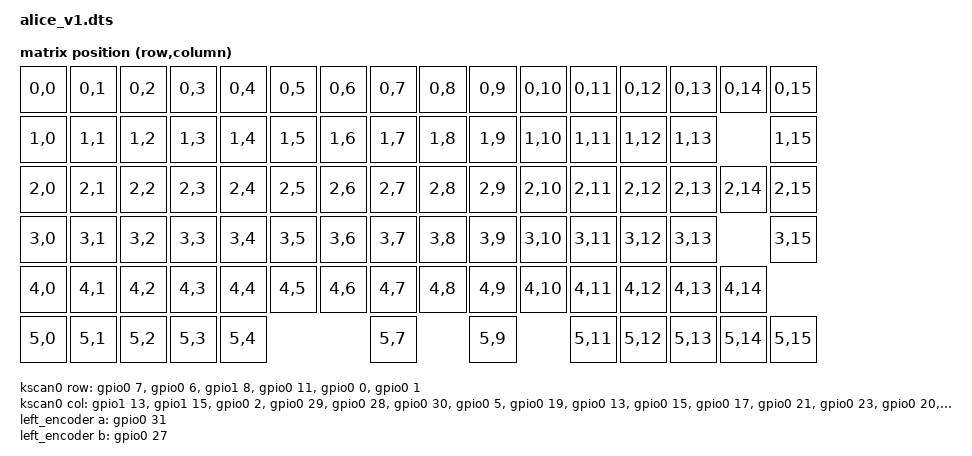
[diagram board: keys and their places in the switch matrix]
/*
* Copyright (c) 2021 The ZMK Contributors
*
* SPDX-License-Identifier: MIT
*/

/dts-v1/;
#include <nordic/nrf52840_qiaa.dtsi>
#include "alice.dtsi"
#include <dt-bindings/led/led.h> 
#include <dt-bindings/zmk/matrix_transform.h>

/ {
	chosen {
		zmk,kscan = &kscan0;
		zmk,matrix_transform = &default_transform;
		zmk,underglow = &led_strip;
		zmk,battery = &vbatt;
	};
	sensors {
		compatible = "zmk,keymap-sensors";
		sensors = <&left_encoder>;
	};

	default_transform: keymap_transform_0 {
		compatible = "zmk,matrix-transform";
		columns = <16>;
		rows = <6>;
		map = <
			RC(0,0) RC(0,1) RC(0,2) RC(0,3) RC(0,4) RC(0,5) RC(0,6) RC(0,7) RC(0,8) RC(0,9) RC(0,10) RC(0,11) RC(0,12) RC(0,13) RC(0,14) RC(0,15)    
			RC(1,0) RC(1,1) RC(1,2) RC(1,3) RC(1,4) RC(1,5) RC(1,6) RC(1,7) RC(1,8) RC(1,9) RC(1,10) RC(1,11) RC(1,12) RC(1,13)          RC(1,15)
			RC(2,0) RC(2,1) RC(2,2) RC(2,3) RC(2,4) RC(2,5) RC(2,6) RC(2,7) RC(2,8) RC(2,9) RC(2,10) RC(2,11) RC(2,12) RC(2,13) RC(2,14) RC(2,15)
			RC(3,0) RC(3,1) RC(3,2) RC(3,3) RC(3,4) RC(3,5) RC(3,6) RC(3,7) RC(3,8) RC(3,9) RC(3,10) RC(3,11) RC(3,12) RC(3,13)          RC(3,15)
			RC(4,0) RC(4,1) RC(4,2) RC(4,3) RC(4,4) RC(4,5) RC(4,6) RC(4,7) RC(4,8) RC(4,9) RC(4,10) RC(4,11) RC(4,12) RC(4,13) RC(4,14) 
			RC(5,0) RC(5,1) RC(5,2) RC(5,3) RC(5,4)                 RC(5,7)         RC(5,9)          RC(5,11) RC(5,12) RC(5,13) RC(5,14) RC(5,15) 
			  
		>;
	};
	kscan0: kscan_0 {
		compatible = "zmk,kscan-gpio-matrix";
		label = "KSCAN";
		diode-direction = "col2row";

		col-gpios
			= <&gpio1 13 GPIO_ACTIVE_HIGH>     //1
			, <&gpio1 15 GPIO_ACTIVE_HIGH>     //2
			, <&gpio0 2 GPIO_ACTIVE_HIGH>      //3
			, <&gpio0 29 GPIO_ACTIVE_HIGH>     //4
			, <&gpio0 28 GPIO_ACTIVE_HIGH>     //5
			, <&gpio0 30 GPIO_ACTIVE_HIGH>     //6
			, <&gpio0 5 GPIO_ACTIVE_HIGH>      //7
			, <&gpio0 19 GPIO_ACTIVE_HIGH>     //8
			, <&gpio0 13 GPIO_ACTIVE_HIGH>     //9
			, <&gpio0 15 GPIO_ACTIVE_HIGH>     //10
			, <&gpio0 17 GPIO_ACTIVE_HIGH>     //11
			, <&gpio0 21 GPIO_ACTIVE_HIGH>     //12
			, <&gpio0 23 GPIO_ACTIVE_HIGH>     //13
			, <&gpio0 20 GPIO_ACTIVE_HIGH>     //14
			, <&gpio0 22 GPIO_ACTIVE_HIGH>     //15
			, <&gpio0 24 GPIO_ACTIVE_HIGH>     //16
			;

		row-gpios
			= <&gpio0 7 (GPIO_ACTIVE_HIGH | GPIO_PULL_DOWN)>
			, <&gpio0 6 (GPIO_ACTIVE_HIGH | GPIO_PULL_DOWN)>
			, <&gpio1 8 (GPIO_ACTIVE_HIGH | GPIO_PULL_DOWN)>
			, <&gpio0 11 (GPIO_ACTIVE_HIGH | GPIO_PULL_DOWN)>
			, <&gpio0 0 (GPIO_ACTIVE_HIGH | GPIO_PULL_DOWN)>
			, <&gpio0 1 (GPIO_ACTIVE_HIGH | GPIO_PULL_DOWN)>
			;
	};
	
	vbatt: vbatt {
		compatible = "zmk,battery-voltage-divider";
		label = "BATTERY";
		io-channels = <&adc 1>;
		output-ohms = <10000000>;
		full-ohms = <(10000000 + 4000000)>;
	};
	left_encoder: encoder_left {
        compatible = "alps,ec11";
        label = "LEFT_ENCODER";
        a-gpios = <&gpio0 31 (GPIO_ACTIVE_HIGH | GPIO_PULL_UP)>;
        b-gpios = <&gpio0 27  (GPIO_ACTIVE_HIGH | GPIO_PULL_UP)>;
        resolution = <2>;
		status = "okay";
    };
};
&pinctrl {
    spi0_default: spi0_default {
        group1 {
            psels = <NRF_PSEL(SPIM_MOSI, 0, 26)>,
					<NRF_PSEL(SPIM_SCK, 0, 14)>,
					<NRF_PSEL(SPIM_MISO, 0, 16)>;
        };
    };

    spi0_sleep: spi0_sleep {
        group1 {
            psels = <NRF_PSEL(SPIM_MOSI, 0, 26)>,
					<NRF_PSEL(SPIM_SCK, 0, 14)>,
					<NRF_PSEL(SPIM_MISO, 0, 16)>;
            low-power-enable;
        };
    };
};

&spi0 {
  compatible = "nordic,nrf-spim";
  status = "okay";

  pinctrl-0 = <&spi3_default>;
  pinctrl-1 = <&spi3_sleep>;
  pinctrl-names = "default", "sleep";

  led_strip: ws2812@0 {
    compatible = "worldsemi,ws2812-spi";
    label = "WS2812";

    /* SPI */
    reg = <0>; /* ignored, but necessary for SPI bindings */
    spi-max-frequency = <4000000>;

    /* WS2812 */
    chain-length = <10>; /* number of LEDs */
    spi-one-frame = <0x70>;
    spi-zero-frame = <0x40>;
    color-mapping = <LED_COLOR_ID_GREEN
                          LED_COLOR_ID_RED
                          LED_COLOR_ID_BLUE>;
  };
};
